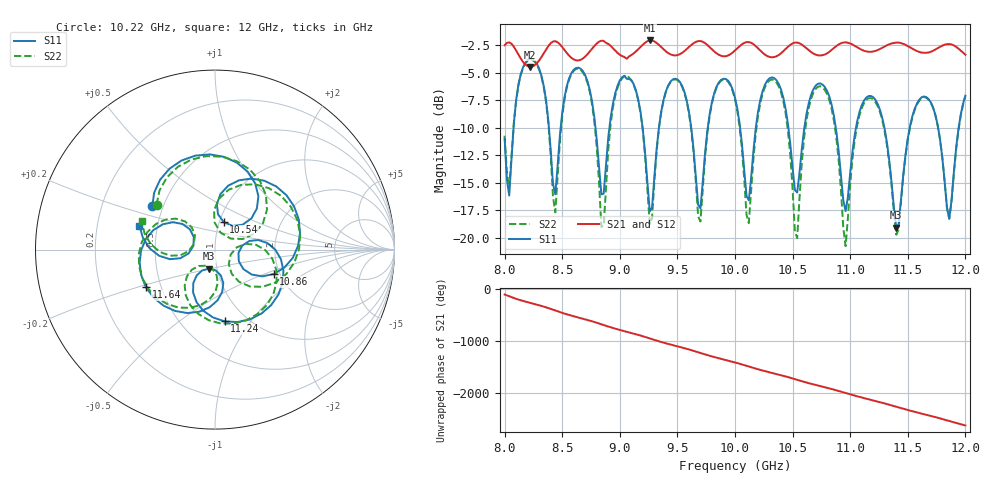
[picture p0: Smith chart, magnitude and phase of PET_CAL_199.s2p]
#  HZ  S  DB  R  50.00
! Rohde & Schwarz ZVA67 4Ports - Version 3.60 - 1305.7002k04 SN: 101051
! Date: 2012-04-04 16:11:28
! Measurements: S11 S21 S12 S22
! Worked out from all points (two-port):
!   201 points, 8 GHz to 12 GHz, reference 50 ohm
!   highest |S21| = -2.08 dB at 9.26 GHz (marker M1); lowest = -4.5 dB at 8.22 GHz (marker M2)
!   |S21| within 3 dB of the highest: start of sweep to end of sweep
!   lowest |S11| = -19.1 dB at 11.4 GHz (marker M3), VSWR 1.25, Z = 45.7 - j9.79 ohm
!   |S11| at or under -10 dB: 10.87 GHz to 11.05 GHz (175.9 MHz wide, 1.6 % of centre); 11.3 GHz to 11.52 GHz (220.2 MHz wide, 1.93 % of centre); 11.76 GHz to 11.94 GHz (178.4 MHz wide, 1.51 % of centre) (the widest 3 of 10)
!   |S22| runs from -20.8 to -3.8 dB; largest |S21 - S12| = 0.00086
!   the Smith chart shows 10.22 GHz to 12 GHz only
!   S11 on the Smith chart (normalised r, x): 10.22 GHz: 0.44, +0.26; 10.54 GHz: 1.05, +0.33; 10.86 GHz: 1.86, -0.58; 11.24 GHz: 0.79, -0.76; 11.64 GHz: 0.41, -0.21; 12 GHz: 0.40, +0.13
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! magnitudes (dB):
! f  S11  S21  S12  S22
! 8 GHz  -11.0  -2.5  -2.5  -10.7
! 8.22 GHz  -3.8  -4.5  -4.5  -3.8
! 8.44 GHz  -16.1  -2.2  -2.1  -17.7
! 8.68 GHz  -4.9  -3.7  -3.7  -5.0
! 8.84 GHz  -16.1  -2.1  -2.1  -19.0
! 9.06 GHz  -5.6  -3.7  -3.7  -5.2
! 9.26 GHz  -17.6  -2.1  -2.1  -18.8
! 9.34 GHz  -9.9  -2.5  -2.5  -10.0
! 9.7 GHz  -17.3  -2.1  -2.1  -18.5
! 10 GHz  -7.3  -3.0  -3.0  -7.4
! 10.12 GHz  -16.6  -2.2  -2.2  -18.7
! 10.22 GHz  -7.5  -3.0  -3.0  -7.7
! 10.54 GHz  -15.9  -2.3  -2.3  -20.0
! 10.68 GHz  -6.5  -3.3  -3.3  -6.8
! 10.86 GHz  -9.0  -2.8  -2.8  -9.5
! 10.96 GHz  -17.6  -2.3  -2.3  -20.8
! 11.24 GHz  -7.9  -2.9  -2.9  -8.1
! 11.34 GHz  -13.1  -2.4  -2.4  -13.3
! 11.4 GHz  -19.1  -2.3  -2.3  -19.7
! 11.64 GHz  -7.2  -3.2  -3.2  -7.2
! 11.86 GHz  -18.3  -2.4  -2.4  -18.3
! 12 GHz  -7.1  -3.4  -3.4  -7.1
